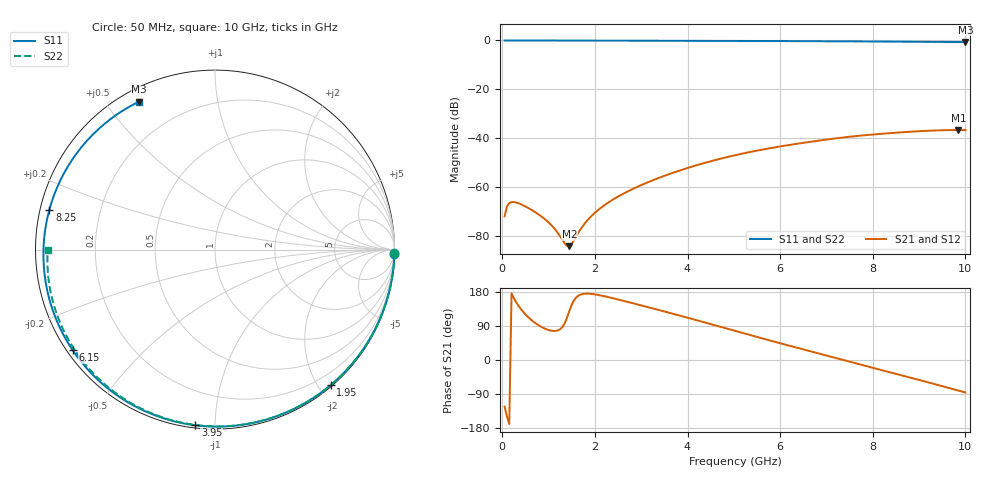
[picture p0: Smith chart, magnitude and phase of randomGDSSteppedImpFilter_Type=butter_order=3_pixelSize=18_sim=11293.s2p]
! freq	dB(S11)	phase(S11)	dB(S12)	phase(S12)
!  dB(S21)	phase(S21)	dB(S22)	phase(S22)
!S-par simulation data
#  GHz  S  DB  R 50
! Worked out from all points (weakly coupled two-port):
!   200 points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, 50 MHz to 10 GHz, reference 50 ohm
!   highest |S21| = -36.70 dB at 9.85 GHz (marker M1); lowest = -84.3 dB at 1.45 GHz (marker M2)
!   lowest |S11| = -0.7 dB at 10 GHz (marker M3), VSWR 26.19, Z = 2.62 + j30.5 ohm
!   |S11| at or under -10 dB: nowhere
!   |S22| runs from -0.6 to 0.0 dB; largest |S21 - S12| = 0
!   S11 on the Smith chart (normalised r, x): 50 MHz: 0, -88; 1.95 GHz: 0.02, -2.17; 3.95 GHz: 0.01, -0.89; 6.15 GHz: 0.02, -0.32; 8.25 GHz: 0.03, +0.12; 10 GHz: 0.05, +0.61
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0.05  -0.00 -1.3  -72.12 -123.0  -72.12 -123.0  -0.00 -1.0
0.1  -0.00 -2.6  -68.03 -149.2  -68.03 -149.2  -0.00 -2.1
0.15  -0.00 -3.9  -66.68 -168.9  -66.68 -168.9  -0.00 -3.1
0.3  -0.01 -7.8  -66.41 152.4  -66.41 152.4  -0.00 -6.2
0.85  -0.03 -21.9  -72.19 87.0  -72.19 87.0  -0.02 -17.4
1.25  -0.04 -32.1  -80.30 81.2  -80.30 81.2  -0.03 -25.5
1.45  -0.05 -37.1  -84.30 130.1  -84.30 130.1  -0.04 -29.5
1.6  -0.05 -40.8  -80.14 165.6  -80.14 165.6  -0.04 -32.5
1.75  -0.06 -44.6  -75.75 174.5  -75.75 174.5  -0.05 -35.5
1.95  -0.06 -49.5  -71.48 174.1  -71.48 174.1  -0.05 -39.4
2.55  -0.08 -64.0  -63.44 158.2  -63.44 158.2  -0.07 -51.0
3.4  -0.11 -83.9  -56.18 131.3  -56.18 131.3  -0.09 -67.0
3.95  -0.13 -96.4  -52.56 113.3  -52.56 113.3  -0.11 -77.1
5.05  -0.18 -120.7  -46.93 76.1  -46.93 76.1  -0.15 -96.4
6.15  -0.26 -144.7  -42.97 39.3  -42.97 39.3  -0.21 -114.9
6.7  -0.30 -156.9  -41.40 21.6  -41.40 21.6  -0.24 -123.9
7.5  -0.37 -175.2  -39.45 -4.3  -39.45 -4.3  -0.30 -137.0
8.25  -0.45 166.5  -38.16 -28.6  -38.16 -28.6  -0.37 -149.3
8.35  -0.46 164.0  -38.02 -31.7  -38.02 -31.7  -0.38 -151.0
9.1  -0.55 143.9  -37.09 -55.8  -37.09 -55.8  -0.47 -163.6
9.85  -0.65 121.8  -36.70 -80.7  -36.70 -80.7  -0.58 -177.0
10  -0.66 117.1  -36.71 -85.7  -36.71 -85.7  -0.61 -179.9
